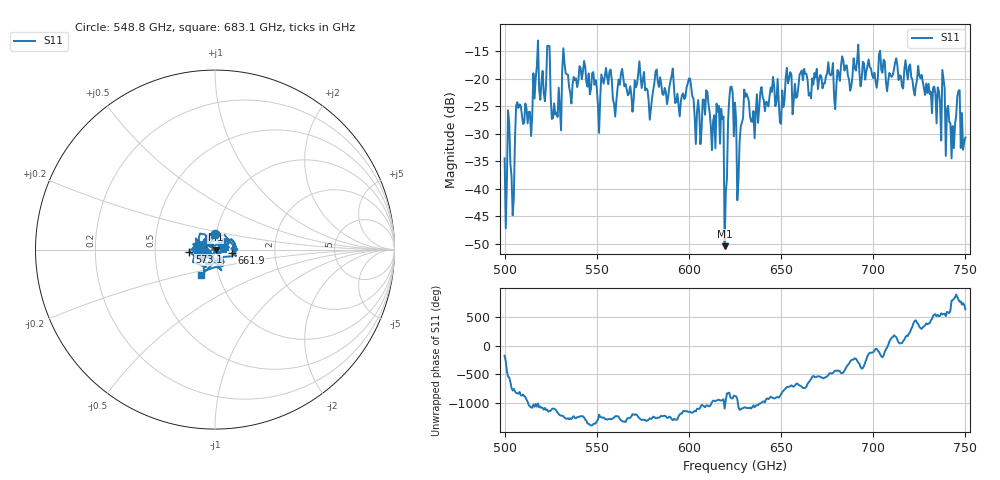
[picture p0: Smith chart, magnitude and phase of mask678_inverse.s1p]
!Created with skrf (http://scikit-rf.org).
# GHz S MA R 50.0
!freq magS11 angS11
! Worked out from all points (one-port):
!   401 points, 500 GHz to 750 GHz, reference 50 ohm
!   lowest |S11| = -50.5 dB at 619.4 GHz (marker M1), VSWR 1.01, Z = 50.3 - j0.0569 ohm
!   |S11| at or under -10 dB: start of sweep to end of sweep
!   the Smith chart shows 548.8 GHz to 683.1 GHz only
!   S11 on the Smith chart (normalised r, x): 548.8 GHz: 0.98, +0.17; 573.1 GHz: 0.75, -0.02; 661.9 GHz: 1.21, -0.05; 683.1 GHz: 0.83, -0.24
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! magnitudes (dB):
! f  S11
! 500 GHz  -34.5
! 502.5 GHz  -28.0
! 504.4 GHz  -44.8
! 507.5 GHz  -25.3
! 513.8 GHz  -26.0
! 516.9 GHz  -19.9
! 523.8 GHz  -14.0
! 526.9 GHz  -24.5
! 531.2 GHz  -18.4
! 548.8 GHz  -21.1
! 562.5 GHz  -21.1
! 573.1 GHz  -16.8
! 593.8 GHz  -22.7
! 616.2 GHz  -25.0
! 619.4 GHz  -50.5
! 622.5 GHz  -21.5
! 625 GHz  -24.4
! 627.5 GHz  -31.5
! 631.2 GHz  -22.7
! 634.4 GHz  -27.9
! 656.2 GHz  -26.5
! 661.9 GHz  -20.3
! 683.1 GHz  -15.9
! 687.5 GHz  -22.2
! 718.8 GHz  -20.1
! 742.5 GHz  -34.5
! 745.6 GHz  -23.2
! 750 GHz  -30.7
